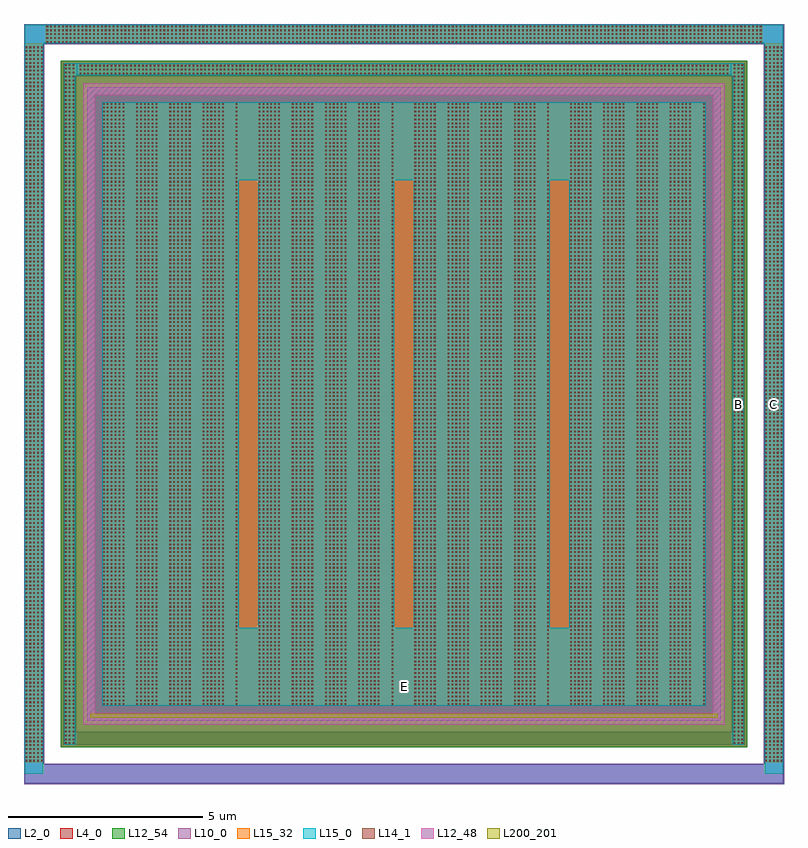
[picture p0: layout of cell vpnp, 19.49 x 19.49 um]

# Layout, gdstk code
import gdstk
lib = gdstk.Library(unit=1e-6, precision=1e-09)
def R(c, l, rs):  # rectangles x0, y0, x1, y1
    for r in rs: c.add(gdstk.rectangle(r[:2], r[2:], *l))
def A(c, l, x, y, w, h, nx, ny, dx, dy):  # array of equal rectangles
    R(c, l, [(x+i*dx, y+j*dy, x+i*dx+w, y+j*dy+h) for i in range(nx) for j in range(ny)])
L2_0 = (2, 0)
L4_0 = (4, 0)
L10_0 = (10, 0)
L12_48 = (12, 48)
L12_54 = (12, 54)
L14_1 = (14, 1)
L15_0 = (15, 0)
L15_32 = (15, 32)
L200_201 = (200, 201)

vpnp = lib.new_cell('vpnp')
R(vpnp, L2_0, [(-16.229,-8.259,3.223,-7.779), (-16.229,-7.779,-15.749,10.713), (2.743,-7.779,3.223,10.713), (-15.249,-7.279,2.243,-6.939), (-15.249,-6.939,-14.909,9.873), (1.903,-6.939,2.243,9.873), (-14.553,-6.583,1.547,9.517), (-15.249,9.873,2.243,10.213), (-16.229,10.713,3.223,11.193)])
R(vpnp, L4_0, [(-15.305,-7.335,2.299,10.269)])
R(vpnp, L10_0, [(-16.25,-8.28,3.244,-7.758), (-16.25,-7.758,-15.728,10.692), (2.722,-7.758,3.244,10.692), (-14.623,-6.653,1.617,9.587), (-16.25,10.692,3.244,11.214)])
R(vpnp, L12_48, [(-14.734,-6.764,1.728,-6.458), (-14.734,-6.458,-14.428,9.392), (1.422,-6.458,1.728,9.392), (-14.734,9.392,1.728,9.698)])
R(vpnp, L12_54, [(-15.305,-7.335,2.299,10.269)])
A(vpnp, L14_1, -16.209, -7.703, 0.04, 0.04, 5, 184, 0.1, 0.1)
A(vpnp, L14_1, 2.763, -7.703, 0.04, 0.04, 5, 184, 0.1, 0.1)
A(vpnp, L14_1, -15.199, -7.253, 0.04, 0.04, 3, 175, 0.1, 0.1)
A(vpnp, L14_1, 1.953, -7.253, 0.04, 0.04, 3, 175, 0.1, 0.1)
A(vpnp, L14_1, -14.223, -6.253, 0.04, 0.04, 6, 155, 0.1, 0.1)
A(vpnp, L14_1, -13.371, -6.253, 0.04, 0.04, 6, 155, 0.1, 0.1)
A(vpnp, L14_1, -12.519, -6.253, 0.04, 0.04, 6, 155, 0.1, 0.1)
A(vpnp, L14_1, -11.667, -6.253, 0.04, 0.04, 6, 155, 0.1, 0.1)
A(vpnp, L14_1, -10.815, -6.253, 0.04, 0.04, 1, 155, 0, 0.1)
A(vpnp, L14_1, -10.229, -6.253, 0.04, 0.04, 6, 155, 0.1, 0.1)
A(vpnp, L14_1, -9.377, -6.253, 0.04, 0.04, 6, 155, 0.1, 0.1)
A(vpnp, L14_1, -8.525, -6.253, 0.04, 0.04, 6, 155, 0.1, 0.1)
A(vpnp, L14_1, -7.673, -6.253, 0.04, 0.04, 6, 155, 0.1, 0.1)
A(vpnp, L14_1, -6.821, -6.253, 0.04, 0.04, 1, 155, 0, 0.1)
A(vpnp, L14_1, -6.235, -6.253, 0.04, 0.04, 6, 155, 0.1, 0.1)
A(vpnp, L14_1, -5.383, -6.253, 0.04, 0.04, 6, 155, 0.1, 0.1)
A(vpnp, L14_1, -4.531, -6.253, 0.04, 0.04, 6, 155, 0.1, 0.1)
A(vpnp, L14_1, -3.679, -6.253, 0.04, 0.04, 6, 155, 0.1, 0.1)
A(vpnp, L14_1, -2.827, -6.253, 0.04, 0.04, 1, 155, 0, 0.1)
A(vpnp, L14_1, -2.241, -6.253, 0.04, 0.04, 6, 155, 0.1, 0.1)
A(vpnp, L14_1, -1.389, -6.253, 0.04, 0.04, 6, 155, 0.1, 0.1)
A(vpnp, L14_1, -0.537, -6.253, 0.04, 0.04, 6, 155, 0.1, 0.1)
A(vpnp, L14_1, 0.315, -6.253, 0.04, 0.04, 6, 155, 0.1, 0.1)
A(vpnp, L14_1, 1.167, -6.253, 0.04, 0.04, 1, 155, 0, 0.1)
A(vpnp, L14_1, -14.823, 9.923, 0.04, 0.04, 167, 3, 0.1, 0.1)
A(vpnp, L14_1, -15.673, 10.733, 0.04, 0.04, 184, 5, 0.1, 0.1)
A(vpnp, L15_0, -14.241, -4.271, 3.494, 11.476, 4, 1, 3.994, 0)
R(vpnp, L15_0, [(-16.227,-8.019,-15.751,11.191), (2.745,-8.019,3.221,11.191), (-15.217,-7.271,-14.941,10.205), (1.935,-7.271,2.211,10.205), (-14.241,-6.271,1.235,-4.271), (-14.241,7.205,1.235,9.205), (-14.941,9.905,1.935,10.205), (-15.751,10.715,2.745,11.191)])
R(vpnp, L15_32, [(-16.227,-7.721,-15.751,10.715), (2.745,-7.721,3.221,10.715), (-15.217,-7.271,-14.941,10.205), (1.935,-7.271,2.211,10.205), (-14.241,-6.271,1.235,9.205), (-14.841,9.905,1.835,10.181), (-15.691,10.715,2.685,11.191)])
R(vpnp, L200_201, [(-14.553,-6.583,1.547,-6.483)])
vpnp.add(gdstk.Label('E', (-6.503,-5.771), layer=15, texttype=20))
vpnp.add(gdstk.Label('B', (2.073,1.467), layer=15, texttype=20))
vpnp.add(gdstk.Label('C', (2.983,1.467), layer=15, texttype=20))

lib.write_gds('vpnp.gds')
